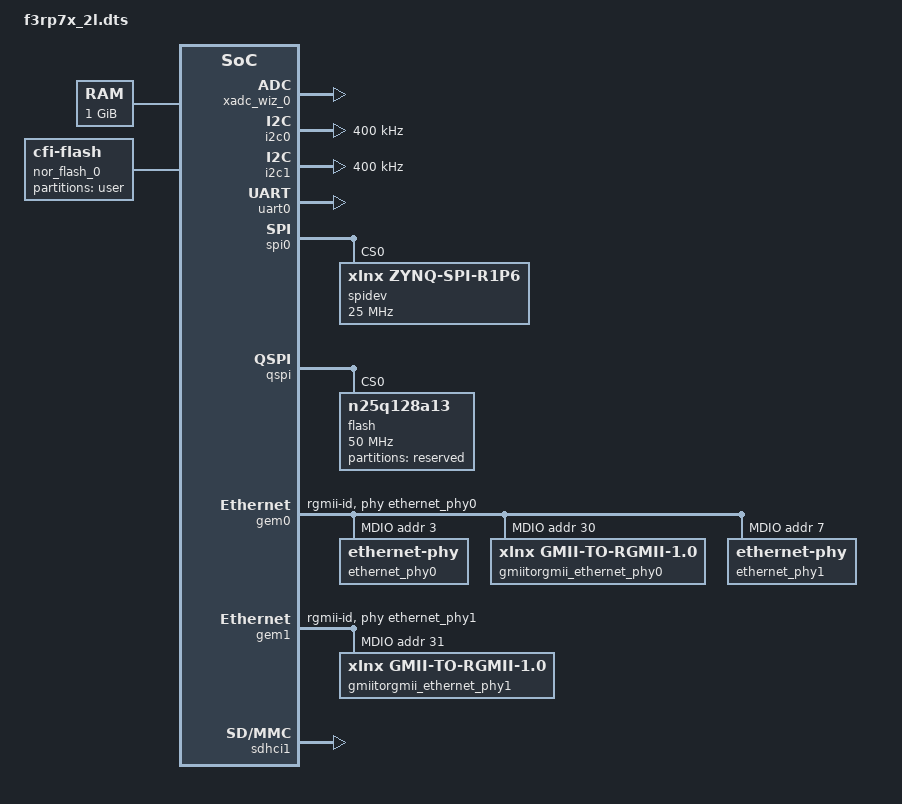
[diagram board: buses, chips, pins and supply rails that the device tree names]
/*
 *  Copyright (C) 2015 Yokogawa Electric Corporation
 *
 * This software is licensed under the terms of the GNU General Public
 * License version 2, as published by the Free Software Foundation, and
 * may be copied, distributed, and modified under those terms.
 *
 * This program is distributed in the hope that it will be useful,
 * but WITHOUT ANY WARRANTY; without even the implied warranty of
 * MERCHANTABILITY or FITNESS FOR A PARTICULAR PURPOSE.  See the
 * GNU General Public License for more details.
 */

/dts-v1/;
#include <dt-bindings/interrupt-controller/arm-gic.h>
#include "f3rp7x.dtsi"

/ {
 version = "f3rp71_2l.dtb Rev 2.00";

	chosen {
		bootargs = "console=ttyPS0,115200 root=/dev/ram rw earlyprintk";
		linux,stdout-path = "/amba/serial@e0000000";
	};

	aliases {
		ethernet0 = &gem0;
		ethernet1 = &gem1;
		serial0 = &uart0;
		i2c0 = &i2c0;
		i2c1 = &i2c1;
		spi0 = &qspi;
		spi1 = &spi0;
	};

	m3io {
		compatible = "ykgw,m3io";
		status = "okay";
		interrupt-parent = <&intc>;
		interrupts = <0 30 4>; /* INUM_BIC_IO (62 = 30 + 32) */
	};

	m3cpu {
		compatible = "ykgw,m3cpu";
		status = "okay";
		interrupt-parent = <&intc>;
		interrupts = <0 31 4>; /* INUM_BIC_CMD (63 = 31 + 32) */
	};

	m3ras {
		compatible = "ykgw,m3ras";
		status = "okay";
		interrupt-parent = <&intc>;
		interrupts = <0 29 4>, /* INUM_BIC_FAIL (61 = 29 + 32) */
		             <0 54 4>; /* INUM_PL_MISC (86 = 54 + 32) */
	};

	memory {
		device_type = "memory";
		reg = <0x0 0x40000000>;
	};

	amba {
		bic_axi_0: bic-axi@40000000 {
			#address-cells = <1>;
			#size-cells = <1>;
			compatible = "xlnx,bic-axi-2.0";
			ranges = <0x40000000 0x40000000 0x200000 0x40000000 0x40000000 0x200000>;
			xlnx,align-be-rdaddr = <0x1>;
			xlnx,include-timeout-cnt = <0x0>;
			xlnx,rdata-fifo-depth = <0x20>;
			xlnx,s-axi-id-width = <0xc>;
			xlnx,s-axi-supports-read = <0x1>;
			xlnx,s-axi-supports-write = <0x1>;
			xlnx,timeout-cntr-val = <0x8>;
		};

		pl_int_ctrl_0: pl-int-ctrl@48000000 {
			compatible = "xlnx,pl-int-ctrl-1.0";
			reg = <0x48000000 0x1000>;
			xlnx,dphase-timeout = <0x0>;
			xlnx,num-mem = <0x1>;
			xlnx,num-reg = <0x1>;
			xlnx,s-axi-min-size = <0x1ff>;
			xlnx,slv-awidth = <0x20>;
			xlnx,slv-dwidth = <0x20>;
			xlnx,use-wstrb = <0x1>;
		};

		rtc_ctrl_0: rtc-ctrl@48001000 {
			compatible = "ykgw,rtc-ctrl-1.0";
			reg = <0x48001000 0x1000>;
		};

		led_ctrl_0: led-ctrl@48002000 {
			compatible = "xlnx,led-ctrl-1.0";
			reg = <0x48002000 0x1000>;
			xlnx,dphase-timeout = <0x0>;
			xlnx,i2c-addr = <0x20>;
			xlnx,num-mem = <0x1>;
			xlnx,num-reg = <0x1>;
			xlnx,period = <0xc350>;
			xlnx,period2 = <0x9>;
			xlnx,s-axi-min-size = <0xfff>;
			xlnx,slv-awidth = <0x20>;
			xlnx,slv-dwidth = <0x20>;
			xlnx,use-wstrb = <0x1>;
		};

		selfrst_gen_0: selfrst-gen@48003000 {
			compatible = "xlnx,selfrst-gen-1.0";
			reg = <0x48003000 0x1000>;
		};

		misc_reg_0: misc-reg@4800f000 {
			compatible = "xlnx,misc-reg-1.0";
			reg = <0x4800f000 0x1000>;
			xlnx,dphase-timeout = <0x0>;
			xlnx,num-mem = <0x1>;
			xlnx,num-reg = <0x1>;
			xlnx,rev = <0x3032>;
			xlnx,s-axi-min-size = <0xfff>;
			xlnx,slv-awidth = <0x20>;
			xlnx,slv-dwidth = <0x20>;
			xlnx,typ = <0x42>;
			xlnx,use-wstrb = <0x1>;
		};

		xadc_wiz_0: xadc-wiz@50000000 {
			compatible = "xlnx,xadc-wiz-3.0";
			reg = <0x50000000 0x1000>;
		};

		tsensor_ctrl_0: tsensor-ctrl@50001000 {
			compatible = "xlnx,tsensor-ctrl-1.0";
			reg = <0x50001000 0x1000>;
		};

		microblaze_0_local_memory_dlmb_bram_if_cntlr: lmb-bram-if-cntlr@0 {
			#address-cells = <1>;
			#size-cells = <1>;
			compatible = "xlnx,lmb-bram-if-cntlr-4.0";
			ranges = <0x0 0x0 0x8000 0x50003000 0x50003000 0x1000>;
			xlnx,ce-counter-width = <0x8>;
			xlnx,ce-failing-registers = <0x1>;
			xlnx,ecc = <0x1>;
			xlnx,ecc-onoff-register = <0x0>;
			xlnx,ecc-onoff-reset-value = <0x1>;
			xlnx,ecc-status-registers = <0x1>;
			xlnx,fault-inject = <0x1>;
			xlnx,interconnect = <0x2>;
			xlnx,lmb-awidth = <0x20>;
			xlnx,lmb-dwidth = <0x20>;
			xlnx,mask = <0x40000000>;
			xlnx,mask1 = <0x800000>;
			xlnx,mask2 = <0x800000>;
			xlnx,mask3 = <0x800000>;
			xlnx,num-lmb = <0x1>;
			xlnx,s-axi-ctrl-addr-width = <0x20>;
			xlnx,s-axi-ctrl-data-width = <0x20>;
			xlnx,s-axi-ctrl-protocol = "AXI4LITE";
			xlnx,ue-failing-registers = <0x1>;
			xlnx,write-access = <0x2>;
		};

		microblaze_0_local_memory_ilmb_bram_if_cntlr: lmb-bram-if-cntlr@1 {
			#address-cells = <1>;
			#size-cells = <1>;
			compatible = "xlnx,lmb-bram-if-cntlr-4.0";
			ranges = <0x0 0x0 0x8000 0x50002000 0x50002000 0x1000>;
			xlnx,ce-counter-width = <0x8>;
			xlnx,ce-failing-registers = <0x1>;
			xlnx,ecc = <0x1>;
			xlnx,ecc-onoff-register = <0x0>;
			xlnx,ecc-onoff-reset-value = <0x1>;
			xlnx,ecc-status-registers = <0x1>;
			xlnx,fault-inject = <0x1>;
			xlnx,interconnect = <0x2>;
			xlnx,lmb-awidth = <0x20>;
			xlnx,lmb-dwidth = <0x20>;
			xlnx,mask = <0x0>;
			xlnx,mask1 = <0x800000>;
			xlnx,mask2 = <0x800000>;
			xlnx,mask3 = <0x800000>;
			xlnx,num-lmb = <0x1>;
			xlnx,s-axi-ctrl-addr-width = <0x20>;
			xlnx,s-axi-ctrl-data-width = <0x20>;
			xlnx,s-axi-ctrl-protocol = "AXI4LITE";
			xlnx,ue-failing-registers = <0x1>;
			xlnx,write-access = <0x2>;
		};

		axi_timer_1: timer@50005000 {
			clock-frequency = <100000000>;
			compatible = "xlnx,axi-timer-2.0", "xlnx,xps-timer-1.00.a";
			reg = <0x50005000 0x1000>;
			xlnx,count-width = <0x20>;
			xlnx,gen0-assert = <0x1>;
			xlnx,gen1-assert = <0x1>;
			xlnx,one-timer-only = <0x1>;
			xlnx,trig0-assert = <0x1>;
			xlnx,trig1-assert = <0x1>;
		};

		axi_bram_ctrl_0: axi-bram-ctrl@51000000 {
			compatible = "xlnx,axi-bram-ctrl-3.0", "xlnx,xps-bram-if-cntlr-1.00.a";
			reg = <0x51000000 0x1000>;
			xlnx,bram-addr-width = <0xa>;
			xlnx,bram-inst-mode = "EXTERNAL";
			xlnx,ecc = <0x1>;
			xlnx,ecc-onoff-reset-value = <0x0>;
			xlnx,ecc-type = <0x0>;
			xlnx,fault-inject = <0x1>;
			xlnx,memory-depth = <0x400>;
			xlnx,s-axi-ctrl-addr-width = <0x20>;
			xlnx,s-axi-ctrl-data-width = <0x20>;
			xlnx,s-axi-id-width = <0x1>;
			xlnx,s-axi-supports-narrow-burst = <0x0>;
			xlnx,single-port-bram = <0x1>;
		};

		nor_flash_0: nor_flash@60000000 {
			bank-width = <2>;
			compatible = "cfi-flash";
			linux,mtd-name = "cfi";
			reg = <0x60000000 0x08000000
			       0x68000000 0x08000000>;
			#address-cells = <1>;
			#size-cells = <1>;
			partition@user {
				 /*256MiB*/
				label = "user";
				reg = <0x0 0x10000000>;
			};
		};

		sram_0: sram@70000000 {
			bank-width = <2>;
			compatible = "mtd-ram";
			reg = <0x70000000 0x00780000>;
			#address-cells = <1>;
			#size-cells = <1>;
			partition@user_sram {
			label = "user sram";
				/*7.5MiB*/
			reg = <0x0 0x00780000>;
			};
		};

		pci_ctrl_0: pci-ctrl@80000000 {
			compatible = "ykgw,pci-ctrl-1.0";
			device_type = "pci";
			reg = <0xb0000000 0x100>;
			reg-names = "config";		/* config register address */
			interrupt-parent = <&intc>;
			interrupts = <GIC_SPI 35 IRQ_TYPE_LEVEL_HIGH>;	/* 35+32=IRQ67 */
			bus-range = <0x00 0xFF>;
			#address-cells = <3>;
			#size-cells = <2>;
			#interrupt-cells = <1>;
			ranges = <
				0x02000000 0 0x80000000 0x80000000 0 0x20000000 /* Memory 0x8000_0000 - 0x9FFF_FFFF */
				0x01000000 0 0xa0000000 0xa0000000 0 0x10000000 /* I/O    0xA000_0000 - 0xAFFF_FFFF */
				0x00000000 0 0xb0000000 0xb0000000 0 0x00000100 /* Config 0xB000_0000 - 0xB000_00FF */
			>;
			interrupt-map-mask = <0xf800 0 0 0x7>;
			interrupt-map = <
					/* for IDSEL 20 (0x14:UM1) */
					0xA000 0 0 1 &intc 0 55 IRQ_TYPE_LEVEL_HIGH /* UM1 INT1 to 55+32=IRQ87 */
					0xA000 0 0 2 &intc 0 56 IRQ_TYPE_LEVEL_HIGH /* UM1 INT2 to 56+32=IRQ88 */
					0xA000 0 0 3 &intc 0 57 IRQ_TYPE_LEVEL_HIGH /* UM1 INT3 to 57+32=IRQ89 */
					0xA000 0 0 4 &intc 0 58 IRQ_TYPE_LEVEL_HIGH /* UM1 INT4 to 58+32=IRQ90 */
					/* for IDSEL 21 (0x15:UM2) */
					0xA800 0 0 1 &intc 0 56 IRQ_TYPE_LEVEL_HIGH /* UM2 INT1 to 56+32=IRQ88 */
					0xA800 0 0 2 &intc 0 57 IRQ_TYPE_LEVEL_HIGH /* UM2 INT2 to 57+32=IRQ89 */
					0xA800 0 0 3 &intc 0 58 IRQ_TYPE_LEVEL_HIGH /* UM2 INT3 to 58+32=IRQ90 */
					0xA800 0 0 4 &intc 0 55 IRQ_TYPE_LEVEL_HIGH /* UM2 INT4 to 55+32=IRQ87 */
					/* for IDSEL 22 (0x16:UM3) */
					0xB000 0 0 1 &intc 0 57 IRQ_TYPE_LEVEL_HIGH /* UM3 INT1 to 57+32=IRQ89 */
					0xB000 0 0 2 &intc 0 58 IRQ_TYPE_LEVEL_HIGH /* UM3 INT2 to 58+32=IRQ90 */
					0xB000 0 0 3 &intc 0 55 IRQ_TYPE_LEVEL_HIGH /* UM3 INT3 to 55+32=IRQ87 */
					0xB000 0 0 4 &intc 0 56 IRQ_TYPE_LEVEL_HIGH /* UM3 INT4 to 56+32=IRQ88 */
					/* for IDSEL 23 (0x17:UM4) */
					0xB800 0 0 1 &intc 0 58 IRQ_TYPE_LEVEL_HIGH /* UM4 INT1 to 58+32=IRQ90 */
					0xB800 0 0 2 &intc 0 55 IRQ_TYPE_LEVEL_HIGH /* UM4 INT2 to 55+32=IRQ87 */
					0xB800 0 0 3 &intc 0 56 IRQ_TYPE_LEVEL_HIGH /* UM4 INT3 to 56+32=IRQ88 */
					0xB800 0 0 4 &intc 0 57 IRQ_TYPE_LEVEL_HIGH /* UM4 INT4 to 57+32=IRQ89 */
			>;
			xlnx,align-be-rdaddr = <0x0>;
			xlnx,include-timeout-cnt = <0x0>;
			xlnx,rdata-fifo-depth = <0x20>;
			xlnx,s-axi-id-width = <0xc>;
			xlnx,s-axi-supports-read = <0x1>;
			xlnx,s-axi-supports-write = <0x1>;
			xlnx,timeout-cntr-val = <0x8>;
		};
	};
};

&can0 {
	status = "disabled";
};

&can1 {
	status = "disabled";
};

&gpio0 {
	emio-gpio-width = <20>;
	gpio-mask-high = <0>;
	gpio-mask-low = <0x5600>;
	gpio-line-names = "UM_GPIO3","","","","","","","","","UM_GPIO5",
			 "","","UM_GPIO4","UM_GPIO6","","","ROTSW0","ROTSW1","ROTSW2","ROTSW3",
			 "","","XPUSHSW","","","","","","UM_GPIO0","UM_GPIO1",
			 "UM_GPIO2","","","","","","","","","",
			 "","","","","","","","","","",
			 "","","","","","","","","","",
			 "","","","","","","","","","",
			 "","","","","","","","","","",
			 "","","","","","","","","","",
			 "","","","","","","","","","",
			 "","","","","","","","","","",
			 "","","","","","","","";
};

&i2c0 {
	status = "okay";
	clock-frequency = <400000>;
};

&i2c1 {
	status = "okay";
	clock-frequency = <400000>;
};

&uart0 {
	status = "okay";
};

&spi0 {
	status = "okay";
	num-cs = <4>;

	spidev@0 {
		compatible = "xlnx,zynq-spi-r1p6";
		spi-max-frequency = <25000000>;
		reg = <0>;
	};
};

&qspi {
	status = "okay";
	is-dual = <0>;
	num-cs = <1>;
	flash@0 {
		compatible = "n25q128a13";
		reg = <0x0>;
		spi-tx-bus-width = <1>;
		spi-rx-bus-width = <4>;
		spi-max-frequency = <50000000>;
		#address-cells = <1>;
		#size-cells = <1>;
		partition@ff0000 {
			label = "reserved";
			reg = <0x00ff0000 0x00010000>;
			read-only;
		};
	};
};

&gem0 {
	compatible = "xlnx,zynq-gem";
	reg = <0xe000b000 0x1000>;
	status = "okay";
	interrupts = <0 22 4>;
	clocks = <&clkc 30>, <&clkc 30>, <&clkc 13>;
	clock-names = "pclk", "hclk", "tx_clk";

	phy-mode = "rgmii-id";
	phy-handle = <&ethernet_phy0>;

	mdio {
		#address-cells = <1>;
		#size-cells = <0>;

		/* Micrel KSZ9031 Gigabit PHY */
		ethernet_phy0: ethernet-phy@3 {
			reg = <3>;
		};

		gmiitorgmii_ethernet_phy0: gmiitorgmii@30 {
			compatible = "xlnx,gmii-to-rgmii-1.0";
			reg = <30>;
			phy-handle = <&ethernet_phy0>;
		};

		/* Micrel KSZ9031 Gigabit PHY */
		ethernet_phy1: ethernet-phy@7 {
			reg = <7>;
		};
	};
};

&gem1 {
	compatible = "xlnx,zynq-gem";
	reg = <0xe000c000 0x1000>;
	status = "okay";
	interrupts = <0 45 4>;
	clocks = <&clkc 31>, <&clkc 31>, <&clkc 14>;
	clock-names = "pclk", "hclk", "tx_clk";

	phy-mode = "rgmii-id";
	phy-handle = <&ethernet_phy1>;

	mdio {
		#address-cells = <1>;
		#size-cells = <0>;

		gmiitorgmii_ethernet_phy1: gmiitorgmii@31 {
			compatible = "xlnx,gmii-to-rgmii-1.0";
			reg = <31>;
			phy-handle = <&ethernet_phy1>;
		};
	};
};

&sdhci1 {
	compatible = "ykgw,sdhci-1.02.a", "arasan,sdhci-8.9a";
	status = "okay";
	clock-frequency = <50000000>;
	interrupts = <0 47 4>, <0 52 1>;
};

&sdhci0 {
	compatible = "ykgw,sdhci-1.02.a", "arasan,sdhci-8.9a";
	status = "disabled";
	clock-frequency = <50000000>;
	interrupts = <0 24 4>, <0 36 1>;
};

